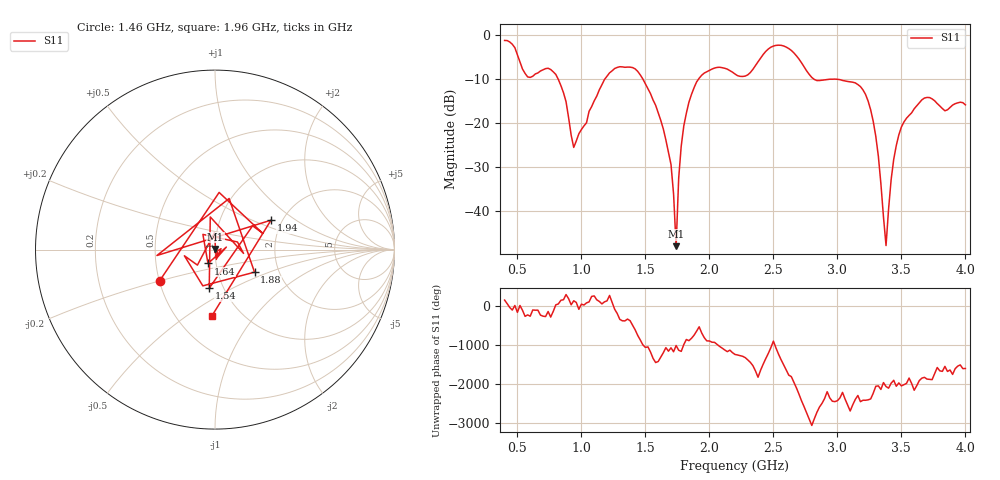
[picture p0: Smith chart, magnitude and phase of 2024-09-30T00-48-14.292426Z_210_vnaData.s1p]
!Created with skrf (http://scikit-rf.org).
# Hz S RI R 50.0
!freq ReS11 ImS11
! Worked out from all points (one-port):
!   181 points, 400 MHz to 4 GHz, reference 50 ohm
!   lowest |S11| = -47.9 dB at 1.74 GHz (marker M1), VSWR 1.01, Z = 50.2 + j0.373 ohm
!   |S11| at or under -10 dB: 819.3 MHz to 1.181 GHz (362.2 MHz wide, 36.2 % of centre); 1.481 GHz to 1.914 GHz (432.7 MHz wide, 25.5 % of centre); 3 GHz to end of sweep (the widest 3 of 4)
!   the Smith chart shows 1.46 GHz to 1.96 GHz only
!   S11 on the Smith chart (normalised r, x): 1.46 GHz: 0.50, -0.20; 1.54 GHz: 0.86, -0.39; 1.64 GHz: 0.91, -0.14; 1.88 GHz: 1.50, -0.40; 1.94 GHz: 1.75, +0.65; 1.96 GHz: 0.73, -0.63
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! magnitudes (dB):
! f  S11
! 400 MHz  -1.2
! 580 MHz  -9.5
! 740 MHz  -7.5
! 860 MHz  -13.0
! 940 MHz  -25.5
! 1.3 GHz  -7.1
! 1.46 GHz  -9.0
! 1.54 GHz  -13.3
! 1.64 GHz  -21.3
! 1.7 GHz  -29.3
! 1.74 GHz  -47.9
! 1.76 GHz  -32.5
! 1.8 GHz  -20.6
! 1.88 GHz  -11.9
! 1.94 GHz  -9.1
! 1.96 GHz  -8.6
! 2.2 GHz  -8.8
! 2.5 GHz  -2.5
! 2.66 GHz  -4.0
! 2.82 GHz  -10.0
! 3.1 GHz  -10.6
! 3.28 GHz  -19.5
! 3.32 GHz  -27.5
! 3.38 GHz  -47.7
! 3.44 GHz  -28.2
! 3.56 GHz  -18.2
! 3.7 GHz  -14.1
! 4 GHz  -15.8
